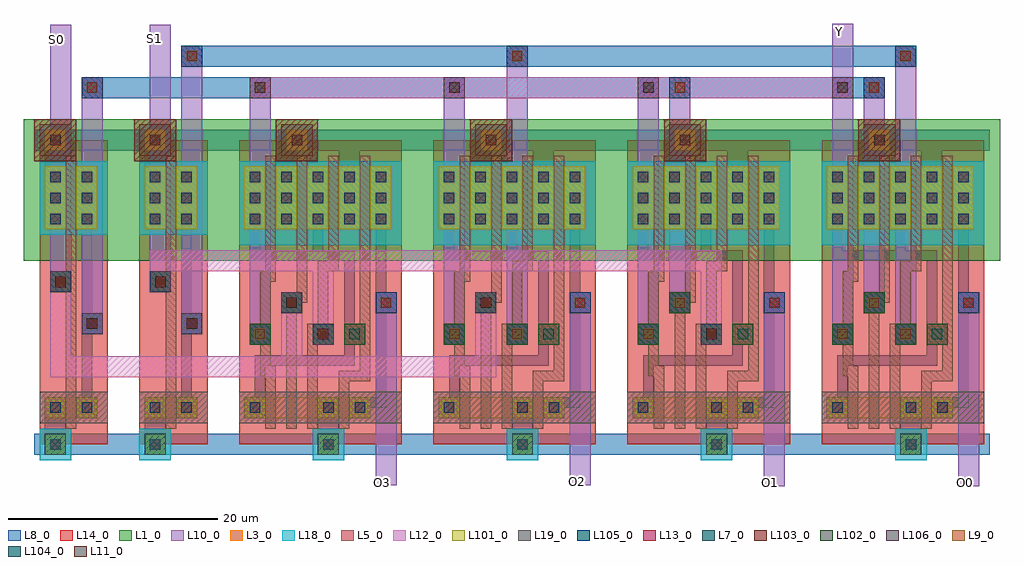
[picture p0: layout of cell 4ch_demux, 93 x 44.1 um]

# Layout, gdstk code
import gdstk
lib = gdstk.Library(unit=1e-6, precision=1e-07)
def R(c, l, rs):  # rectangles x0, y0, x1, y1
    for r in rs: c.add(gdstk.rectangle(r[:2], r[2:], *l))
def P(c, l, *ps):  # polygons
    for p in ps: c.add(gdstk.Polygon(p, *l))
L1_0 = (1, 0)
L3_0 = (3, 0)
L5_0 = (5, 0)
L7_0 = (7, 0)
L8_0 = (8, 0)
L9_0 = (9, 0)
L10_0 = (10, 0)
L11_0 = (11, 0)
L12_0 = (12, 0)
L13_0 = (13, 0)
L14_0 = (14, 0)
L18_0 = (18, 0)
L19_0 = (19, 0)
L101_0 = (101, 0)
L102_0 = (102, 0)
L103_0 = (103, 0)
L104_0 = (104, 0)
L105_0 = (105, 0)
L106_0 = (106, 0)

pcont = lib.new_cell('pcont')
R(pcont, L5_0, [(-1,-1,1,1)])
R(pcont, L7_0, [(-0.5,-0.5,0.5,0.5)])
R(pcont, L8_0, [(-1,-1,1,1)])
R(pcont, L102_0, [(-1,-1,1,1)])
pcont.add(gdstk.Label('pcont', (0,0), layer=13, texttype=0))

dcont = lib.new_cell('dcont')
R(dcont, L3_0, [(-1,-1,1,1)])
R(dcont, L7_0, [(-0.5,-0.5,0.5,0.5)])
R(dcont, L8_0, [(-1,-1,1,1)])
R(dcont, L13_0, [(-0.5,-0.5,0.5,0.5)])
R(dcont, L101_0, [(-1,-1,1,1)])
dcont.add(gdstk.Label('dcont', (0,0), layer=13, texttype=0))

nsubcont = lib.new_cell('nsubcont')
R(nsubcont, L1_0, [(-2,-2,2,2)])
R(nsubcont, L19_0, [(-1.5,-1.5,1.5,1.5)])
R(nsubcont, L103_0, [(-2,-2,2,2)])
nsubcont.add(gdstk.Reference(dcont, (0,0)))
nsubcont.add(gdstk.Label('NScont', (0,0), layer=13, texttype=0))

via = lib.new_cell('Via')
R(via, L8_0, [(-1,-1,1,1)])
R(via, L9_0, [(-0.5,-0.5,0.5,0.5)])
R(via, L10_0, [(-1,-1,1,1)])
R(via, L13_0, [(-0.5,-0.5,0.5,0.5)])
R(via, L105_0, [(-1,-1,1,1)])
via.add(gdstk.Label('via', (0,0), layer=13, texttype=0))

psubcont = lib.new_cell('psubcont')
R(psubcont, L18_0, [(-1.5,-1.5,1.5,1.5)])
R(psubcont, L104_0, [(-1,-1,1,1)])
psubcont.add(gdstk.Reference(dcont, (0,0)))
psubcont.add(gdstk.Label('PScon', (0,0), layer=13, texttype=0))

inv1 = lib.new_cell('inv1')
R(inv1, L1_0, [(-1.5,17.5,8,31)])
R(inv1, L3_0, [(0.5,2.5,5.5,4.5), (0.5,20.5,5.5,26.5)])
R(inv1, L8_0, [(-0.5,-1,7,1), (4,10.5,6,12.5), (1,14.5,3,16.5), (-0.5,28,7,30)])
R(inv1, L10_0, [(4,10.5,6,12.5), (1,14.5,3,16.5)])
R(inv1, L14_0, [(0,0,6.5,29)])
R(inv1, L18_0, [(0,20,6.5,27)])
R(inv1, L19_0, [(0,2,6.5,5)])
R(inv1, L105_0, [(4,10.5,6,12.5), (1,14.5,3,16.5)])
inv1.add(gdstk.FlexPath([(4.5,20.5),(4.5,3.8)], 1, ends="extended", simple_path=True, layer=8, datatype=0))  # L8_0
inv1.add(gdstk.FlexPath([(4.5,22.3),(4.5,25.5)], 1.4, ends="extended", simple_path=True, layer=8, datatype=0))  # L8_0
inv1.add(gdstk.FlexPath([(1.5,1),(1.5,3.5)], 2, ends="extended", simple_path=True, layer=8, datatype=0))  # L8_0
inv1.add(gdstk.FlexPath([(1.5,21.5),(1.5,28.5)], 2, ends="extended", simple_path=True, layer=8, datatype=0))  # L8_0
inv1.add(gdstk.FlexPath([(3,27),(3,2)], 1, ends="extended", simple_path=True, layer=5, datatype=0))  # L5_0
inv1.add(gdstk.Reference(pcont, (2,15.5)))
inv1.add(gdstk.Reference(dcont, (4.5,21.5)))
inv1.add(gdstk.Reference(dcont, (1.5,21.5)))
inv1.add(gdstk.Reference(nsubcont, (1.5,29)))
inv1.add(gdstk.Reference(via, (2,15.5)))
inv1.add(gdstk.Reference(dcont, (4.5,3.5)))
inv1.add(gdstk.Reference(dcont, (1.5,3.5)))
inv1.add(gdstk.Reference(dcont, (1.5,23.5)))
inv1.add(gdstk.Reference(psubcont, (1.5,0)))
inv1.add(gdstk.Reference(dcont, (4.5,25.5)))
inv1.add(gdstk.Reference(dcont, (1.5,25.5)))
inv1.add(gdstk.Reference(via, (5,11.5)))
inv1.add(gdstk.Reference(dcont, (4.5,23.5)))
inv1.add(gdstk.Label('VSS', (3,0), layer=8, texttype=0))
inv1.add(gdstk.Label('VDD', (0.3,28.5), layer=8, texttype=0))
inv1.add(gdstk.Label('VDD', (4,29), layer=8, texttype=0))
inv1.add(gdstk.Label('via', (5,11.5), layer=13, texttype=0))
inv1.add(gdstk.Label('via', (2,15.5), layer=13, texttype=0))
inv1.add(gdstk.Label('X', (5,11.5), layer=10, texttype=0))
inv1.add(gdstk.Label('A', (2,15.5), layer=10, texttype=0))

an31 = lib.new_cell('an31')
R(an31, L1_0, [(-1.5,17.5,17,31)])
R(an31, L3_0, [(0.5,2.5,12.5,4.5), (0.5,20.5,14.5,26.5)])
R(an31, L8_0, [(-0.5,-1,16,1), (1,9.5,3,11.5), (7,9.5,9,11.5), (4,12.5,6,14.5), (13,12.5,15,14.5), (-0.5,28,16,30)])
R(an31, L10_0, [(1,9.5,3,11.5), (7,9.5,9,11.5), (4,12.5,6,14.5), (13,12.5,15,14.5)])
R(an31, L14_0, [(0,0,15.5,29)])
R(an31, L18_0, [(0,19,15.5,27)])
R(an31, L19_0, [(0,2,15.5,5)])
R(an31, L105_0, [(1,9.5,3,11.5), (7,9.5,9,11.5), (4,12.5,6,14.5), (13,12.5,15,14.5)])
an31.add(gdstk.FlexPath([(13.5,25.5),(13.5,4),(11.5,4),(11.5,3.8)], 1, ends="extended", simple_path=True, layer=8, datatype=0))  # L8_0
an31.add(gdstk.FlexPath([(13.5,22.3),(13.5,25.5)], 1.4, ends="extended", simple_path=True, layer=8, datatype=0))  # L8_0
an31.add(gdstk.FlexPath([(10.5,22.3),(10.5,25.5)], 1.4, ends="extended", simple_path=True, layer=8, datatype=0))  # L8_0
an31.add(gdstk.FlexPath([(10.5,21.5),(10.5,28.5)], 2, ends="extended", simple_path=True, layer=8, datatype=0))  # L8_0
an31.add(gdstk.FlexPath([(8.5,0),(8.5,3.5)], 2, ends="extended", simple_path=True, layer=8, datatype=0))  # L8_0
an31.add(gdstk.FlexPath([(7.5,22.3),(7.5,25.5)], 1.4, ends="extended", simple_path=True, layer=8, datatype=0))  # L8_0
an31.add(gdstk.FlexPath([(7.5,21.5),(7.5,18)], 1, ends="extended", simple_path=True, layer=8, datatype=0))  # L8_0
an31.add(gdstk.FlexPath([(1.5,21.5),(1.5,18),(10.5,18),(10.5,8),(2,8),(2,3.8)], 1, ends="extended", simple_path=True, layer=8, datatype=0))  # L8_0
an31.add(gdstk.FlexPath([(4.5,21.5),(4.5,28.5)], 2, ends="extended", simple_path=True, layer=8, datatype=0))  # L8_0
an31.add(gdstk.FlexPath([(1.5,22.3),(1.5,25.5)], 1.4, ends="extended", simple_path=True, layer=8, datatype=0))  # L8_0
an31.add(gdstk.FlexPath([(12,27),(12,6.5),(10,6.5),(10,2)], 1, ends="extended", simple_path=True, layer=5, datatype=0))  # L5_0
an31.add(gdstk.FlexPath([(9,27),(9,17),(8,17),(8,11),(7,11),(7,2)], 1, ends="extended", simple_path=True, layer=5, datatype=0))  # L5_0
an31.add(gdstk.FlexPath([(6,27),(6,14),(5,14),(5,2)], 1, ends="extended", simple_path=True, layer=5, datatype=0))  # L5_0
an31.add(gdstk.FlexPath([(3,27),(3,16),(2.5,16),(2.5,7),(3,7),(3,2)], 1, ends="extended", simple_path=True, layer=5, datatype=0))  # L5_0
an31.add(gdstk.Reference(dcont, (10.5,21.5)))
an31.add(gdstk.Reference(dcont, (10.5,25.5)))
an31.add(gdstk.Reference(dcont, (7.5,25.5)))
an31.add(gdstk.Reference(dcont, (11.5,3.5)))
an31.add(gdstk.Reference(nsubcont, (5.5,29)))
an31.add(gdstk.Reference(dcont, (13.5,25.5)))
an31.add(gdstk.Reference(dcont, (1.5,25.5)))
an31.add(gdstk.Reference(dcont, (8.5,3.5)))
an31.add(gdstk.Reference(via, (5,13.5)))
an31.add(gdstk.Reference(dcont, (1.5,21.5)))
an31.add(gdstk.Reference(via, (2,10.5)))
an31.add(gdstk.Reference(dcont, (7.5,21.5)))
an31.add(gdstk.Reference(dcont, (13.5,23.5)))
an31.add(gdstk.Reference(dcont, (4.5,23.5)))
an31.add(gdstk.Reference(pcont, (2,10.5)))
an31.add(gdstk.Reference(dcont, (1.5,3.5)))
an31.add(gdstk.Reference(via, (14,13.5)))
an31.add(gdstk.Reference(dcont, (13.5,21.5)))
an31.add(gdstk.Reference(dcont, (10.5,23.5)))
an31.add(gdstk.Reference(psubcont, (8.5,0)))
an31.add(gdstk.Reference(pcont, (8,10.5)))
an31.add(gdstk.Reference(dcont, (7.5,23.5)))
an31.add(gdstk.Reference(dcont, (4.5,21.5)))
an31.add(gdstk.Reference(via, (8,10.5)))
an31.add(gdstk.Reference(pcont, (11,10.5)))
an31.add(gdstk.Reference(pcont, (5,13.5)))
an31.add(gdstk.Reference(dcont, (1.5,23.5)))
an31.add(gdstk.Reference(dcont, (4.5,25.5)))
an31.add(gdstk.Label('VDD', (0.5,29), layer=8, texttype=0))
an31.add(gdstk.Label('VSS', (0.5,0), layer=8, texttype=0))
an31.add(gdstk.Label('via', (14,13), layer=13, texttype=0))
an31.add(gdstk.Label('via', (5,13), layer=13, texttype=0))
an31.add(gdstk.Label('via', (2,10), layer=13, texttype=0))
an31.add(gdstk.Label('via', (8,10), layer=13, texttype=0))
an31.add(gdstk.Label('Y', (14,13.5), layer=10, texttype=0))
an31.add(gdstk.Label('C', (8,10.5), layer=10, texttype=0))
an31.add(gdstk.Label('B', (5,13.5), layer=10, texttype=0))
an31.add(gdstk.Label('A', (2,10.5), layer=10, texttype=0))

via2 = lib.new_cell('Via2')
R(via2, L10_0, [(-1,-1,1,1)])
R(via2, L11_0, [(-0.5,-0.5,0.5,0.5)])
P(via2, L11_0, [(-1,0),(-1,0),(-1,0),(-1,0)],
  [(1,1),(1,1),(1,1),(1,1)])
R(via2, L12_0, [(-1,-1,1,1)])
R(via2, L13_0, [(-0.5,-0.5,0.5,0.5)])
R(via2, L106_0, [(-1,-1,1,1)])

via_1 = lib.new_cell('Via$1')
R(via_1, L8_0, [(-1,-1,1,1)])
R(via_1, L9_0, [(-0.5,-0.5,0.5,0.5)])
R(via_1, L10_0, [(-1,-1,1,1)])
R(via_1, L13_0, [(-0.5,-0.5,0.5,0.5)])
R(via_1, L105_0, [(-1,-1,1,1)])

c_4ch_demux = lib.new_cell('4ch_demux')
R(c_4ch_demux, L8_0, [(-0.5,-1,90.5,1), (-0.5,28,90.5,30)])
c_4ch_demux.add(gdstk.FlexPath([(4,34),(80.5,34)], 2, ends="flush", simple_path=True, layer=8, datatype=0))  # L8_0
c_4ch_demux.add(gdstk.FlexPath([(13.5,37),(83.5,37)], 2, ends="flush", simple_path=True, layer=8, datatype=0))  # L8_0
c_4ch_demux.add(gdstk.FlexPath([(21,9.5),(21,35)], 2, ends="flush", simple_path=True, layer=10, datatype=0))  # L10_0
c_4ch_demux.add(gdstk.FlexPath([(39.5,9.5),(39.5,35)], 2, ends="flush", simple_path=True, layer=10, datatype=0))  # L10_0
c_4ch_demux.add(gdstk.FlexPath([(58,9.5),(58,35)], 2, ends="flush", simple_path=True, layer=10, datatype=0))  # L10_0
c_4ch_demux.add(gdstk.FlexPath([(76.5,9.5),(76.5,35)], 2, ends="flush", simple_path=True, layer=10, datatype=0))  # L10_0
c_4ch_demux.add(gdstk.FlexPath([(76.5,33),(76.5,40.1)], 2, ends="flush", simple_path=True, layer=10, datatype=0))  # L10_0
c_4ch_demux.add(gdstk.FlexPath([(33,14.5),(33,-3.9)], 2, ends="flush", simple_path=True, layer=10, datatype=0))  # L10_0
c_4ch_demux.add(gdstk.FlexPath([(51.5,14.5),(51.5,-3.9)], 2, ends="flush", simple_path=True, layer=10, datatype=0))  # L10_0
c_4ch_demux.add(gdstk.FlexPath([(70,14.5),(70,-4)], 2, ends="flush", simple_path=True, layer=10, datatype=0))  # L10_0
c_4ch_demux.add(gdstk.FlexPath([(88.5,14.5),(88.5,-4)], 2, ends="flush", simple_path=True, layer=10, datatype=0))  # L10_0
c_4ch_demux.add(gdstk.FlexPath([(45.5,9.5),(45.5,38)], 2, ends="flush", simple_path=True, layer=10, datatype=0))  # L10_0
c_4ch_demux.add(gdstk.FlexPath([(2,14.5),(2,40)], 2, ends="flush", simple_path=True, layer=10, datatype=0))  # L10_0
c_4ch_demux.add(gdstk.FlexPath([(11.5,14.5),(11.5,40)], 2, ends="flush", simple_path=True, layer=10, datatype=0))  # L10_0
c_4ch_demux.add(gdstk.FlexPath([(5,10.5),(5,35)], 2, ends="flush", simple_path=True, layer=10, datatype=0))  # L10_0
c_4ch_demux.add(gdstk.FlexPath([(14.5,10.5),(14.5,38)], 2, ends="flush", simple_path=True, layer=10, datatype=0))  # L10_0
c_4ch_demux.add(gdstk.FlexPath([(61,12.5),(61,35)], 2, ends="flush", simple_path=True, layer=10, datatype=0))  # L10_0
c_4ch_demux.add(gdstk.FlexPath([(79.5,12.5),(79.5,35)], 2, ends="flush", simple_path=True, layer=10, datatype=0))  # L10_0
c_4ch_demux.add(gdstk.FlexPath([(82.5,9.5),(82.5,38)], 2, ends="flush", simple_path=True, layer=10, datatype=0))  # L10_0
c_4ch_demux.add(gdstk.FlexPath([(77.5,34),(20,34)], 2, ends="flush", simple_path=True, layer=12, datatype=0))  # L12_0
c_4ch_demux.add(gdstk.FlexPath([(2,16.5),(2,7.4),(42.5,7.4),(42.5,14.5)], 2, ends="flush", simple_path=True, layer=12, datatype=0))  # L12_0
c_4ch_demux.add(gdstk.FlexPath([(24,14.5),(24,6.4)], 2, ends="flush", simple_path=True, layer=12, datatype=0))  # L12_0
c_4ch_demux.add(gdstk.FlexPath([(11.5,14.5),(11.5,17.5),(27,17.5),(27,9.5)], 2, ends="flush", simple_path=True, layer=12, datatype=0))  # L12_0
c_4ch_demux.add(gdstk.FlexPath([(27,17.5),(64,17.5),(64,9.5)], 2, ends="flush", simple_path=True, layer=12, datatype=0))  # L12_0
c_4ch_demux.add(gdstk.Reference(inv1, (0,0)))
c_4ch_demux.add(gdstk.Reference(inv1, (9.5,0)))
c_4ch_demux.add(gdstk.Reference(an31, (19,0)))
c_4ch_demux.add(gdstk.Reference(an31, (74.5,0)))
c_4ch_demux.add(gdstk.Reference(an31, (56,0)))
c_4ch_demux.add(gdstk.Reference(an31, (37.5,0)))
c_4ch_demux.add(gdstk.Reference(via2, (21,34)))
c_4ch_demux.add(gdstk.Reference(via2, (39.5,34)))
c_4ch_demux.add(gdstk.Reference(via2, (58,34)))
c_4ch_demux.add(gdstk.Reference(via2, (2,15.5)))
c_4ch_demux.add(gdstk.Reference(via2, (24,13.5)))
c_4ch_demux.add(gdstk.Reference(via2, (42.5,13.5)))
c_4ch_demux.add(gdstk.Reference(via2, (5,11.5)))
c_4ch_demux.add(gdstk.Reference(via2, (14.5,11.5)))
c_4ch_demux.add(gdstk.Reference(via2, (11.5,15.5)))
c_4ch_demux.add(gdstk.Reference(via2, (27,10.5)))
c_4ch_demux.add(gdstk.Reference(via2, (64,10.5)))
c_4ch_demux.add(gdstk.Reference(via_1, (5,34)))
c_4ch_demux.add(gdstk.Reference(via_1, (61,34)))
c_4ch_demux.add(gdstk.Reference(via_1, (79.5,34)))
c_4ch_demux.add(gdstk.Reference(via_1, (14.5,37)))
c_4ch_demux.add(gdstk.Reference(via_1, (45.5,37)))
c_4ch_demux.add(gdstk.Reference(via_1, (82.5,37)))
c_4ch_demux.add(gdstk.Reference(via2, (76.5,34)))
c_4ch_demux.add(gdstk.Label('Y', (76.2,39.3), layer=10, texttype=0))
c_4ch_demux.add(gdstk.Label('O0', (88.2,-3.6), layer=10, texttype=0))
c_4ch_demux.add(gdstk.Label('O1', (69.6,-3.6), layer=10, texttype=0))
c_4ch_demux.add(gdstk.Label('O2', (51.2,-3.5), layer=10, texttype=0))
c_4ch_demux.add(gdstk.Label('O3', (32.7,-3.6), layer=10, texttype=0))
c_4ch_demux.add(gdstk.Label('S0', (1.6,38.6), layer=10, texttype=0))
c_4ch_demux.add(gdstk.Label('S1', (10.9,38.7), layer=10, texttype=0))

lib.write_gds('4ch_demux.gds')
